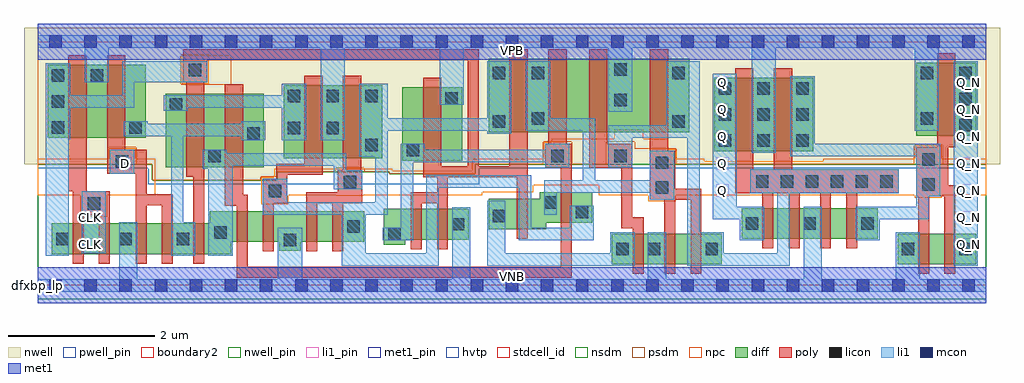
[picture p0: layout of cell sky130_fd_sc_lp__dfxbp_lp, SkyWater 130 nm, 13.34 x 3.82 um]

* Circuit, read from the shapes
.subckt sky130_fd_sc_lp__dfxbp_lp CLK D Q Q_N VGND VNB VPB VPWR
XM1 n1 CLK n2 VNB sky130_fd_pr__nfet_01v8 w=0.42 l=0.15
XM2 VGND CLK n1 VNB sky130_fd_pr__nfet_01v8 w=0.42 l=0.15
XM3 n3 D VGND VNB sky130_fd_pr__nfet_01v8 w=0.42 l=0.15
XM4 n4 D n3 VNB sky130_fd_pr__nfet_01v8 w=0.42 l=0.15
XM5 n5 n2 n4 VNB sky130_fd_pr__nfet_01v8 w=0.42 l=0.15
XM6 n6 n7 n5 VNB sky130_fd_pr__nfet_01v8 w=0.42 l=0.15
XM7 VGND n8 n6 VNB sky130_fd_pr__nfet_01v8 w=0.42 l=0.15
XM8 n9 n5 VGND VNB sky130_fd_pr__nfet_01v8 w=0.42 l=0.15
XM9 n8 n5 n9 VNB sky130_fd_pr__nfet_01v8 w=0.42 l=0.15
XM10 n10 n2 n7 VNB sky130_fd_pr__nfet_01v8 w=0.42 l=0.15
XM11 VGND n2 n10 VNB sky130_fd_pr__nfet_01v8 w=0.42 l=0.15
XM12 n11 n2 n12 VNB sky130_fd_pr__nfet_01v8 w=0.42 l=0.15
XM13 n8 n7 n11 VNB sky130_fd_pr__nfet_01v8 w=0.42 l=0.15
XM14 VGND n13 n12 VNB sky130_fd_pr__nfet_01v8 w=0.42 l=0.15
XM15 n14 n11 VGND VNB sky130_fd_pr__nfet_01v8 w=0.42 l=0.15
XM16 n13 n11 n14 VNB sky130_fd_pr__nfet_01v8 w=0.42 l=0.15
XM17 n15 n13 Q VNB sky130_fd_pr__nfet_01v8 w=0.42 l=0.15
XM18 VGND n13 n15 VNB sky130_fd_pr__nfet_01v8 w=0.42 l=0.15
XM19 n16 n13 VGND VNB sky130_fd_pr__nfet_01v8 w=0.42 l=0.15
XM20 n17 n13 n16 VNB sky130_fd_pr__nfet_01v8 w=0.42 l=0.15
XM21 n18 n17 VGND VNB sky130_fd_pr__nfet_01v8 w=0.42 l=0.15
XM22 Q_N n17 n18 VNB sky130_fd_pr__nfet_01v8 w=0.42 l=0.15
XM23 VPWR CLK n2 VPB sky130_fd_pr__pfet_01v8_hvt w=1 l=0.25
XM24 n4 D VPWR VPB sky130_fd_pr__pfet_01v8_hvt w=1 l=0.25
XM25 n5 n2 n19 VPB sky130_fd_pr__pfet_01v8_hvt w=1 l=0.25
XM26 n4 n7 n5 VPB sky130_fd_pr__pfet_01v8_hvt w=1 l=0.25
XM27 VPWR n8 n19 VPB sky130_fd_pr__pfet_01v8_hvt w=1 l=0.25
XM28 n8 n5 VPWR VPB sky130_fd_pr__pfet_01v8_hvt w=1 l=0.25
XM29 VPWR n2 n7 VPB sky130_fd_pr__pfet_01v8_hvt w=1 l=0.25
XM30 n11 n2 n8 VPB sky130_fd_pr__pfet_01v8_hvt w=1 l=0.25
XM31 n20 n7 n11 VPB sky130_fd_pr__pfet_01v8_hvt w=1 l=0.25
XM32 VPWR n13 n20 VPB sky130_fd_pr__pfet_01v8_hvt w=1 l=0.25
XM33 n13 n11 VPWR VPB sky130_fd_pr__pfet_01v8_hvt w=1 l=0.25
XM34 VPWR n13 Q VPB sky130_fd_pr__pfet_01v8_hvt w=1 l=0.25
XM35 n17 n13 VPWR VPB sky130_fd_pr__pfet_01v8_hvt w=1 l=0.25
XM36 Q_N n17 VPWR VPB sky130_fd_pr__pfet_01v8_hvt w=1 l=0.25
.ends

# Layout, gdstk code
import gdstk
lib = gdstk.Library(unit=1e-6, precision=1e-09)
def R(c, l, rs):  # rectangles x0, y0, x1, y1
    for r in rs: c.add(gdstk.rectangle(r[:2], r[2:], *l))
def A(c, l, x, y, w, h, nx, ny, dx, dy):  # array of equal rectangles
    R(c, l, [(x+i*dx, y+j*dy, x+i*dx+w, y+j*dy+h) for i in range(nx) for j in range(ny)])
def P(c, l, *ps):  # polygons
    for p in ps: c.add(gdstk.Polygon(p, *l))
nwell_pin = (64, 16)
nwell = (64, 20)
diff = (65, 20)
poly = (66, 20)
licon = (66, 44)
li1_pin = (67, 16)
li1 = (67, 20)
mcon = (67, 44)
met1_pin = (68, 16)
met1 = (68, 20)
hvtp = (78, 44)
stdcell_id = (81, 4)
nsdm = (93, 44)
psdm = (94, 20)
npc = (95, 20)
pwell_pin = (122, 16)
boundary2 = (236, 0)

sky130_fd_sc_lp__dfxbp_l = lib.new_cell('sky130_fd_sc_lp__dfxbp_lp')
R(sky130_fd_sc_lp__dfxbp_l, nwell_pin, [(0,3.085,12.96,3.33)])
P(sky130_fd_sc_lp__dfxbp_l, nwell, [(13.15,3.52),(-0.19,3.52),(-0.19,1.655),(1.565,1.655),(1.565,1.435),(3.27,1.435),(3.27,1.555),(4.8,1.555),(4.8,1.525),(5.98,1.525),(5.98,1.655),(13.15,1.655)])
R(sky130_fd_sc_lp__dfxbp_l, diff, [(7.845,0.285,9.35,0.705), (11.75,0.285,12.825,0.705), (9.62,0.635,11.48,1.055), (1.745,1.615,3.09,2.615), (4.98,1.705,5.8,2.705), (3.36,1.735,4.705,2.735), (9.245,1.835,10.595,2.835), (0.135,2.015,1.475,3.015), (12.005,2.045,12.825,3.045), (6.16,2.095,8.9,3.095)])
P(sky130_fd_sc_lp__dfxbp_l, diff, [(4.46,1.015),(2.35,1.015),(2.35,0.845),(0.19,0.845),(0.19,0.425),(2.64,0.425),(2.64,0.595),(3.3,0.595),(3.3,0.475),(3.59,0.475),(3.59,0.595),(4.46,0.595)],
  [(5.89,1.045),(4.73,1.045),(4.73,0.555),(5.02,0.555),(5.02,0.625),(5.89,0.625)],
  [(7.575,1.275),(6.86,1.275),(6.86,1.185),(6.16,1.185),(6.16,0.765),(6.945,0.765),(6.945,0.855),(7.575,0.855)])
P(sky130_fd_sc_lp__dfxbp_l, poly, [(0.985,1.285),(0.665,1.285),(0.665,3.145),(0.415,3.145),(0.415,1.285),(0.475,1.285),(0.475,0.295),(0.625,0.295),(0.625,0.955),(0.835,0.955),(0.835,0.295),(0.985,0.295)],
  [(1.845,1.245),(1.485,1.245),(1.485,1.855),(1.195,1.855),(1.195,3.145),(0.945,3.145),(0.945,1.525),(1.335,1.525),(1.335,0.295),(1.485,0.295),(1.485,1.095),(1.695,1.095),(1.695,0.295),(1.845,0.295)],
  [(3.89,2.865),(3.64,2.865),(3.64,1.66),(3.255,1.66),(3.255,1.455),(3.075,1.455),(3.075,0.465),(3.225,0.465),(3.225,1.125),(3.405,1.125),(3.405,1.51),(3.89,1.51)],
  [(4.43,1.575),(4.42,1.575),(4.42,2.865),(4.17,2.865),(4.17,1.575),(4.1,1.575),(4.1,1.27),(3.665,1.27),(3.665,0.465),(3.815,0.465),(3.815,1.12),(4.025,1.12),(4.025,0.465),(4.175,0.465),(4.175,1.12),(4.43,1.12)],
  [(6.695,3.225),(6.445,3.225),(6.445,1.63),(6.025,1.63),(6.025,3.225),(1.985,3.225),(1.985,2.775),(2.025,2.775),(2.025,1.485),(2.125,1.485),(2.125,0.295),(2.275,0.295),(2.275,2.775),(2.315,2.775),(2.315,3.075),(5.875,3.075),(5.875,1.63),(5.515,1.63),(5.515,2.835),(5.265,2.835),(5.265,1.48),(5.455,1.48),(5.455,1.27),(5.095,1.27),(5.095,0.495),(5.245,0.495),(5.245,1.12),(5.455,1.12),(5.455,0.495),(5.605,0.495),(5.605,1.48),(6.545,1.48),(6.545,0.635),(6.695,0.635)],
  [(7.295,1.935),(7.225,1.935),(7.225,3.225),(6.975,3.225),(6.975,1.935),(6.935,1.935),(6.935,1.605),(7.145,1.605),(7.145,0.255),(2.865,0.255),(2.865,1.24),(2.805,1.24),(2.805,2.745),(2.555,2.745),(2.555,1.09),(2.715,1.09),(2.715,0.105),(7.295,0.105)],
  [(8.28,0.93),(8.125,0.93),(8.125,1.935),(7.785,1.935),(7.785,3.225),(7.535,3.225),(7.535,1.605),(7.975,1.605),(7.975,0.78),(8.13,0.78),(8.13,0.155),(8.28,0.155)],
  [(9.07,1.32),(8.71,1.32),(8.71,1.84),(8.615,1.84),(8.615,3.225),(8.365,3.225),(8.365,1.17),(8.56,1.17),(8.56,0.155),(8.71,0.155),(8.71,1.17),(8.92,1.17),(8.92,0.155),(9.07,0.155)],
  [(11.765,1.585),(10.31,1.585),(10.31,2.965),(10.06,2.965),(10.06,1.585),(9.78,1.585),(9.78,2.965),(9.53,2.965),(9.53,1.255),(9.9,1.255),(9.9,0.505),(10.05,0.505),(10.05,1.255),(10.26,1.255),(10.26,0.505),(10.41,0.505),(10.41,1.255),(10.69,1.255),(10.69,0.505),(10.84,0.505),(10.84,1.255),(11.05,1.255),(11.05,0.505),(11.2,0.505),(11.2,1.255),(11.765,1.255)],
  [(12.54,1.365),(12.44,1.365),(12.44,1.885),(12.54,1.885),(12.54,3.175),(12.29,3.175),(12.29,1.885),(12.005,1.885),(12.005,1.215),(12.03,1.215),(12.03,0.155),(12.18,0.155),(12.18,1.215),(12.39,1.215),(12.39,0.155),(12.54,0.155)])
A(sky130_fd_sc_lp__dfxbp_l, licon, 9.675, 0.76, 0.17, 0.17, 3, 1, 0.79, 0)
A(sky130_fd_sc_lp__dfxbp_l, licon, 9.815, 1.335, 0.17, 0.17, 6, 1, 0.34, 0)
A(sky130_fd_sc_lp__dfxbp_l, licon, 9.305, 1.895, 0.17, 0.17, 3, 3, 0.53, 0.355)
A(sky130_fd_sc_lp__dfxbp_l, licon, 0.19, 2.075, 0.17, 0.17, 1, 3, 0, 0.355)
A(sky130_fd_sc_lp__dfxbp_l, licon, 12.595, 2.105, 0.17, 0.17, 1, 3, 0, 0.355)
A(sky130_fd_sc_lp__dfxbp_l, licon, 3.415, 2.505, 0.17, 0.17, 3, 1, 0.53, 0)
R(sky130_fd_sc_lp__dfxbp_l, licon, [(7.905,0.41,8.075,0.58), (8.335,0.41,8.505,0.58), (9.125,0.41,9.295,0.58), (11.805,0.41,11.975,0.58), (12.595,0.41,12.765,0.58), (3.36,0.535,3.53,0.705), (0.25,0.55,0.42,0.72), (1.11,0.55,1.28,0.72), (1.9,0.55,2.07,0.72), (4.79,0.615,4.96,0.785), (2.41,0.635,2.58,0.805), (4.23,0.72,4.4,0.89), (5.66,0.75,5.83,0.92), (6.22,0.865,6.39,1.035), (7.35,0.915,7.52,1.085), (0.68,1.035,0.85,1.205), (6.92,1.045,7.09,1.215), (3.155,1.205,3.325,1.375), (8.445,1.25,8.615,1.42), (12.085,1.295,12.255,1.465), (4.18,1.325,4.35,1.495), (8.445,1.59,8.615,1.76), (1.065,1.605,1.235,1.775), (12.085,1.635,12.255,1.805), (2.33,1.68,2.5,1.85), (7.015,1.685,7.185,1.855), (7.875,1.685,8.045,1.855), (5.04,1.765,5.21,1.935), (4.475,1.835,4.645,2.005), (2.86,1.99,3.03,2.16), (3.415,2.065,3.585,2.235), (3.945,2.065,4.115,2.235), (1.25,2.075,1.42,2.245), (6.22,2.155,6.39,2.325), (8.67,2.155,8.84,2.325), (6.75,2.195,6.92,2.365), (12.065,2.195,12.235,2.365), (1.8,2.385,1.97,2.555), (7.875,2.45,8.045,2.62), (5.57,2.47,5.74,2.64), (0.72,2.78,0.89,2.95), (6.22,2.815,6.39,2.985), (6.75,2.815,6.92,2.985), (8.67,2.815,8.84,2.985), (12.065,2.815,12.235,2.985), (2.065,2.855,2.235,3.025), (7.875,2.865,8.045,3.035)])
A(sky130_fd_sc_lp__dfxbp_l, li1_pin, 12.635, 0.47, 0.17, 0.17, 1, 7, 0, 0.37)
A(sky130_fd_sc_lp__dfxbp_l, li1_pin, 9.275, 1.21, 0.17, 0.17, 1, 5, 0, 0.37)
R(sky130_fd_sc_lp__dfxbp_l, li1_pin, [(0.635,0.47,0.805,0.64), (0.635,0.84,0.805,1.01), (1.115,1.58,1.285,1.75)])
R(sky130_fd_sc_lp__dfxbp_l, li1, [(12.515,0.265,12.845,3.065), (0.6,0.44,0.93,1.285), (0.985,1.525,1.315,1.855)])
P(sky130_fd_sc_lp__dfxbp_l, li1, [(0.64,2.775),(0.64,3.245),(0,3.245),(0,3.415),(12.96,3.415),(12.96,3.245),(12.315,3.245),(12.315,2.115),(11.985,2.115),(11.985,3.245),(10.085,3.245),(10.085,1.815),(9.755,1.815),(9.755,3.245),(8.125,3.245),(8.125,2.37),(7.795,2.37),(7.795,3.245),(5.82,3.245),(5.82,2.465),(5.49,2.465),(5.49,3.245),(4.195,3.245),(4.195,1.985),(3.865,1.985),(3.865,3.245),(0.97,3.245),(0.97,2.775)],
  [(3.28,0.085),(3.28,0.785),(3.61,0.785),(3.61,0.085),(5.66,0.085),(5.66,1.065),(5.91,1.065),(5.91,0.085),(8.335,0.085),(8.335,0.725),(8.585,0.725),(8.585,0.085),(10.465,0.085),(10.465,1.075),(10.715,1.075),(10.715,0.085),(11.725,0.085),(11.725,0.725),(12.055,0.725),(12.055,0.085),(12.96,0.085),(12.96,-0.085),(0,-0.085),(0,0.085),(1.11,0.085),(1.11,0.865),(1.36,0.865),(1.36,0.085)],
  [(3.405,1.135),(4.61,1.135),(4.61,1.755),(4.395,1.755),(4.395,2.755),(4.78,2.755),(4.78,2.285),(6.14,2.285),(6.14,3.065),(6.47,3.065),(6.47,2.075),(6.14,2.075),(6.14,2.115),(4.78,2.115),(4.78,0.965),(4.48,0.965),(4.48,0.435),(5.31,0.435),(5.31,1.505),(6.74,1.505),(6.74,0.785),(7.27,0.785),(7.27,1.085),(7.6,1.085),(7.6,0.615),(6.57,0.615),(6.57,1.335),(5.48,1.335),(5.48,0.265),(4.15,0.265),(4.15,0.965),(3.075,0.965),(3.075,1.455),(3.405,1.455)],
  [(1.99,2.035),(1.99,0.865),(2.15,0.865),(2.15,0.405),(1.82,0.405),(1.82,2.035),(1.17,2.035),(1.17,2.245),(1.5,2.245),(1.5,2.205),(2.78,2.205),(2.78,2.245),(3.11,2.245),(3.11,1.985),(2.78,1.985),(2.78,2.035)],
  [(9.225,2.89),(9.555,2.89),(9.555,1.075),(9.925,1.075),(9.925,0.615),(9.595,0.615),(9.595,0.905),(9.225,0.905)],
  [(7.445,1.435),(7.445,2.115),(6.67,2.115),(6.67,3.065),(7,3.065),(7,2.285),(7.615,2.285),(7.615,1.435),(8.365,1.435),(8.365,1.84),(8.695,1.84),(8.695,1.17),(8.365,1.17),(8.365,1.265),(7.09,1.265),(7.09,0.965),(6.92,0.965),(6.92,1.435)],
  [(2.58,1.805),(4.215,1.805),(4.215,1.575),(4.43,1.575),(4.43,1.315),(4.045,1.315),(4.045,1.635),(2.66,1.635),(2.66,0.405),(2.33,0.405),(2.33,1.595),(2.25,1.595),(2.25,1.855),(2.58,1.855)],
  [(8.59,2.19),(8.59,3.065),(9.045,3.065),(9.045,0.725),(9.375,0.725),(9.375,0.435),(10.105,0.435),(10.105,1.255),(9.735,1.255),(9.735,1.585),(11.765,1.585),(11.765,1.255),(10.275,1.255),(10.275,0.265),(8.875,0.265),(8.875,2.02),(8.125,2.02),(8.125,1.615),(7.795,1.615),(7.795,2.19)],
  [(6.14,0.265),(6.14,1.155),(6.39,1.155),(6.39,0.435),(7.825,0.435),(7.825,0.725),(8.155,0.725),(8.155,0.265)],
  [(1.15,2.595),(1.15,3.065),(2.315,3.065),(2.315,2.775),(1.32,2.775),(1.32,2.425),(0.44,2.425),(0.44,1.995),(0.42,1.995),(0.42,0.405),(0.11,0.405),(0.11,3.035),(0.44,3.035),(0.44,2.595)],
  [(6.935,1.615),(6.935,1.685),(5.13,1.685),(5.13,0.615),(4.71,0.615),(4.71,0.785),(4.96,0.785),(4.96,1.935),(5.29,1.935),(5.29,1.855),(6.935,1.855),(6.935,1.935),(7.265,1.935),(7.265,1.615)],
  [(12.335,1.935),(12.335,1.215),(12.175,1.215),(12.175,0.905),(11.505,0.905),(11.505,0.615),(11.175,0.615),(11.175,1.075),(12.005,1.075),(12.005,1.765),(10.285,1.765),(10.285,2.855),(10.615,2.855),(10.615,1.935)],
  [(3.335,1.985),(3.335,2.425),(2.05,2.425),(2.05,2.385),(1.72,2.385),(1.72,2.595),(3.335,2.595),(3.335,2.755),(3.665,2.755),(3.665,1.985)])
A(sky130_fd_sc_lp__dfxbp_l, mcon, 0.155, -0.085, 0.17, 0.17, 27, 2, 0.48, 3.33)
R(sky130_fd_sc_lp__dfxbp_l, met1_pin, [(0,0,12.96,0.245), (0,3.085,12.96,3.33)])
R(sky130_fd_sc_lp__dfxbp_l, met1, [(0,-0.245,12.96,0.245), (0,3.085,12.96,3.575)])
P(sky130_fd_sc_lp__dfxbp_l, hvtp, [(12.96,3.33),(0,3.33),(0,1.6),(1.51,1.6),(1.51,1.38),(6.035,1.38),(6.035,1.6),(12.96,1.6)])
R(sky130_fd_sc_lp__dfxbp_l, stdcell_id, [(0,0,12.96,3.33)])
P(sky130_fd_sc_lp__dfxbp_l, nsdm, [(12.96,1.655),(5.98,1.655),(5.98,1.525),(4.8,1.525),(4.8,1.555),(3.27,1.555),(3.27,1.435),(1.565,1.435),(1.565,1.655),(0,1.655),(0,-0.19),(12.96,-0.19)])
P(sky130_fd_sc_lp__dfxbp_l, psdm, [(12.96,3.52),(2.635,3.52),(2.635,2.745),(1.955,2.745),(1.955,3.135),(2.635,3.135),(2.635,3.52),(0,3.52),(0,1.655),(0.955,1.655),(0.955,1.885),(1.345,1.885),(1.345,1.655),(1.565,1.655),(1.565,1.435),(3.045,1.435),(3.045,1.485),(3.27,1.485),(3.27,1.555),(4.07,1.555),(4.07,1.605),(4.46,1.605),(4.46,1.555),(4.8,1.555),(4.8,1.525),(5.98,1.525),(5.98,1.655),(6.905,1.655),(6.905,1.965),(7.295,1.965),(7.295,1.655),(7.765,1.655),(7.765,1.965),(8.155,1.965),(8.155,1.87),(8.725,1.87),(8.725,1.655),(11.975,1.655),(11.975,1.915),(12.365,1.915),(12.365,1.655),(12.96,1.655)])
R(sky130_fd_sc_lp__dfxbp_l, npc, [(1.965,2.755,2.335,3.155)])
P(sky130_fd_sc_lp__dfxbp_l, npc, [(1.605,1.73),(1.335,1.73),(1.335,1.875),(0.965,1.875),(0.965,1.73),(0,1.73),(0,1.23),(0.58,1.23),(0.58,0.935),(0.95,0.935),(0.95,1.23),(1.605,1.23)],
  [(12.96,1.73),(12.355,1.73),(12.355,1.905),(11.985,1.905),(11.985,1.73),(10.735,1.73),(10.735,1.695),(9.105,1.695),(9.105,1.73),(8.715,1.73),(8.715,1.86),(8.61,1.86),(8.61,2.005),(8.275,2.005),(8.275,2.125),(7.875,2.125),(7.875,2.005),(7.02,2.005),(7.02,1.955),(6.915,1.955),(6.915,1.73),(5.94,1.73),(5.94,1.565),(4.84,1.565),(4.84,1.595),(3.23,1.595),(3.23,1.475),(3.055,1.475),(3.055,1.105),(3.425,1.105),(3.425,1.23),(4.08,1.23),(4.08,1.225),(4.45,1.225),(4.45,1.23),(6.07,1.23),(6.07,1.275),(6.77,1.275),(6.77,1.365),(7.665,1.365),(7.665,1.23),(8.345,1.23),(8.345,1.15),(8.715,1.15),(8.715,1.23),(11.985,1.23),(11.985,1.195),(12.355,1.195),(12.355,1.23),(12.96,1.23)])
R(sky130_fd_sc_lp__dfxbp_l, pwell_pin, [(0,0,12.96,0.245)])
R(sky130_fd_sc_lp__dfxbp_l, boundary2, [(0,0,12.96,3.33)])
sky130_fd_sc_lp__dfxbp_l.add(gdstk.Label('VNB', (6.48,0.123), layer=64, texttype=59))
sky130_fd_sc_lp__dfxbp_l.add(gdstk.Label('VPB', (6.48,3.208), layer=64, texttype=5))
sky130_fd_sc_lp__dfxbp_l.add(gdstk.Label('dfxbp_lp', (0,0), layer=83, texttype=44))
sky130_fd_sc_lp__dfxbp_l.add(gdstk.Label('VPWR', (6.48,3.208), layer=68, texttype=5))
sky130_fd_sc_lp__dfxbp_l.add(gdstk.Label('VGND', (6.48,0.123), layer=68, texttype=5))
sky130_fd_sc_lp__dfxbp_l.add(gdstk.Label('CLK', (0.72,0.555), layer=67, texttype=5))
sky130_fd_sc_lp__dfxbp_l.add(gdstk.Label('CLK', (0.72,0.925), layer=67, texttype=5))
sky130_fd_sc_lp__dfxbp_l.add(gdstk.Label('D', (1.2,1.665), layer=67, texttype=5))
sky130_fd_sc_lp__dfxbp_l.add(gdstk.Label('Q', (9.36,1.295), layer=67, texttype=5))
sky130_fd_sc_lp__dfxbp_l.add(gdstk.Label('Q', (9.36,1.665), layer=67, texttype=5))
sky130_fd_sc_lp__dfxbp_l.add(gdstk.Label('Q', (9.36,2.035), layer=67, texttype=5))
sky130_fd_sc_lp__dfxbp_l.add(gdstk.Label('Q', (9.36,2.405), layer=67, texttype=5))
sky130_fd_sc_lp__dfxbp_l.add(gdstk.Label('Q', (9.36,2.775), layer=67, texttype=5))
sky130_fd_sc_lp__dfxbp_l.add(gdstk.Label('Q_N', (12.72,0.555), layer=67, texttype=5))
sky130_fd_sc_lp__dfxbp_l.add(gdstk.Label('Q_N', (12.72,0.925), layer=67, texttype=5))
sky130_fd_sc_lp__dfxbp_l.add(gdstk.Label('Q_N', (12.72,1.295), layer=67, texttype=5))
sky130_fd_sc_lp__dfxbp_l.add(gdstk.Label('Q_N', (12.72,1.665), layer=67, texttype=5))
sky130_fd_sc_lp__dfxbp_l.add(gdstk.Label('Q_N', (12.72,2.035), layer=67, texttype=5))
sky130_fd_sc_lp__dfxbp_l.add(gdstk.Label('Q_N', (12.72,2.405), layer=67, texttype=5))
sky130_fd_sc_lp__dfxbp_l.add(gdstk.Label('Q_N', (12.72,2.775), layer=67, texttype=5))

lib.write_gds('sky130_fd_sc_lp__dfxbp_lp.gds')
